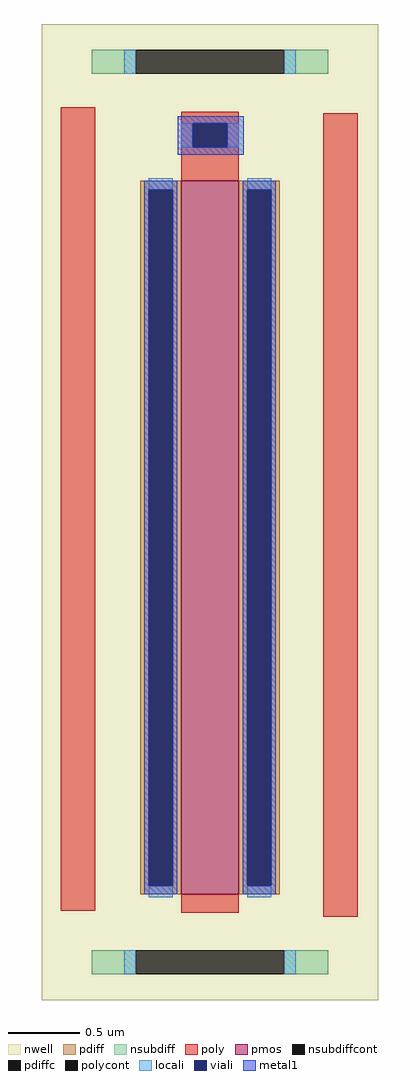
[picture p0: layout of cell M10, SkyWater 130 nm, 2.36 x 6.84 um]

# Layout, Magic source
magic
tech sky130B
magscale 1 2
<< nwell >>
rect -236 -684 236 684
<< pmos >>
rect -40 -536 40 464
<< pdiff >>
rect -98 452 -40 464
rect -98 -524 -86 452
rect -52 -524 -40 452
rect -98 -536 -40 -524
rect 40 452 98 464
rect 40 -524 52 452
rect 86 -524 98 452
rect 40 -536 98 -524
<< pdiffc >>
rect -86 -524 -52 452
rect 52 -524 86 452
<< nsubdiff >>
rect -166 614 -104 648
rect 104 614 166 648
rect -166 -648 -104 -614
rect 104 -648 166 -614
<< nsubdiffcont >>
rect -104 614 104 648
rect -104 -648 104 -614
<< poly >>
rect -209 -559 -161 567
rect -40 545 40 561
rect -40 511 -24 545
rect 24 511 40 545
rect -40 464 40 511
rect -40 -562 40 -536
rect 159 -567 207 559
<< polycont >>
rect -24 511 24 545
<< locali >>
rect -120 614 -104 648
rect 104 614 120 648
rect -40 511 -24 545
rect 24 511 40 545
rect -86 452 -52 468
rect -86 -540 -52 -524
rect 52 452 86 468
rect 52 -540 86 -524
rect -120 -648 -104 -614
rect 104 -648 120 -614
<< viali >>
rect -24 511 24 545
rect -86 -524 -52 452
rect 52 -524 86 452
<< metal1 >>
rect -45 545 47 555
rect -45 511 -24 545
rect 24 511 47 545
rect -45 501 47 511
rect -92 452 -46 464
rect -92 -524 -86 452
rect -52 -524 -46 452
rect -92 -536 -46 -524
rect 46 452 92 464
rect 46 -524 52 452
rect 86 -524 92 452
rect 46 -536 92 -524
<< properties >>
string FIXED_BBOX -183 -631 183 631
string gencell sky130_fd_pr__pfet_01v8
string library sky130
string parameters w 5 l .4 m 1 nf 1 diffcov 100 polycov 100 guard 1 glc 0 grc 0 gtc 1 gbc 1 tbcov 100 rlcov 100 topc 1 botc 0 poverlap 0 doverlap 1 lmin 0.15 wmin 0.42 compatible {sky130_fd_pr__pfet_01v8  sky130_fd_pr__pfet_01v8_lvt sky130_fd_pr__pfet_01v8_hvt  sky130_fd_pr__pfet_g5v0d10v5} full_metal 0 viasrc 100 viadrn 100 viagate 100 viagb 0 viagr 0 viagl 0 viagt 0
<< end >>
